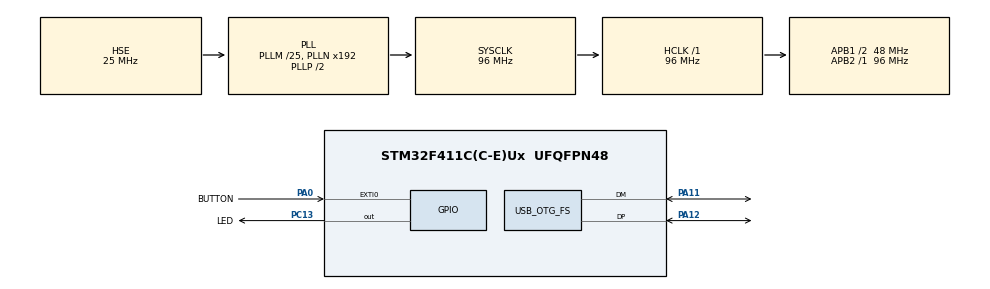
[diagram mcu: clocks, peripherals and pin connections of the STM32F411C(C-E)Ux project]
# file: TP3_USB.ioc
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Mcu.Family=STM32F4
Mcu.Name=STM32F411C(C-E)Ux
Mcu.Package=UFQFPN48
NVIC.EXTI0_IRQn=true\:0\:0\:false\:false\:true\:true\:true\:true
NVIC.OTG_FS_IRQn=true\:0\:0\:false\:false\:true\:false\:true\:true
NVIC.PriorityGroup=NVIC_PRIORITYGROUP_4
NVIC.TIM4_IRQn=true\:0\:0\:false\:false\:true\:true\:true\:true
PA0-WKUP.GPIO_Label=BUTTON
PA0-WKUP.GPIO_ModeDefaultEXTI=GPIO_MODE_IT_FALLING
PA0-WKUP.GPIO_PuPd=GPIO_PULLUP
PA0-WKUP.Signal=GPXTI0
PA11.Mode=Device_Only
PA11.Signal=USB_OTG_FS_DM
PA12.Mode=Device_Only
PA12.Signal=USB_OTG_FS_DP
PA13.Mode=Serial_Wire
PA13.Signal=SYS_JTMS-SWDIO
PA14.Mode=Serial_Wire
PA14.Signal=SYS_JTCK-SWCLK
PC13-ANTI_TAMP.GPIO_Label=LED
PC13-ANTI_TAMP.Signal=GPIO_Output
PC14-OSC32_IN.Mode=LSE-External-Oscillator
PC14-OSC32_IN.Signal=RCC_OSC32_IN
PC15-OSC32_OUT.Mode=LSE-External-Oscillator
PC15-OSC32_OUT.Signal=RCC_OSC32_OUT
PH0\ -\ OSC_IN.Mode=HSE-External-Oscillator
PH0\ -\ OSC_IN.Signal=RCC_OSC_IN
PH1\ -\ OSC_OUT.Mode=HSE-External-Oscillator
PH1\ -\ OSC_OUT.Signal=RCC_OSC_OUT
ProjectManager.TargetToolchain=STM32CubeIDE
RCC.48MHZClocksFreq_Value=48000000
RCC.AHBFreq_Value=96000000
RCC.APB1CLKDivider=RCC_HCLK_DIV2
RCC.APB1Freq_Value=48000000
RCC.APB1TimFreq_Value=96000000
RCC.APB2Freq_Value=96000000
RCC.APB2TimFreq_Value=96000000
RCC.CortexFreq_Value=96000000
RCC.HCLKFreq_Value=96000000
RCC.HSE_VALUE=25000000
RCC.HSI_VALUE=16000000
RCC.PLLM=25
RCC.SYSCLKFreq_VALUE=96000000
RCC.SYSCLKSource=RCC_SYSCLKSOURCE_PLLCLK
RCC.VCOOutputFreq_Value=192000000
TIM4.Period=4999
TIM4.Prescaler=9599
USB_DEVICE.CLASS_NAME_FS=CDC
USB_DEVICE.VirtualMode=Cdc
USB_DEVICE.VirtualModeFS=Cdc_FS
USB_OTG_FS.VirtualMode=Device_Only
VP_TIM4_VS_ClockSourceINT.Mode=Internal
VP_USB_DEVICE_VS_USB_DEVICE_CDC_FS.Mode=CDC_FS
board=custom

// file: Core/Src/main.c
/* USER CODE BEGIN Header */
/**
  ******************************************************************************
  * @file           : main.c
  * @brief          : TP3 - Interrupts & USB CDC Virtual COM Port (STM32F411CEUx)
  ******************************************************************************
  */
/* USER CODE END Header */
#include "main.h"
#include "usb_device.h"

/* USER CODE BEGIN Includes */
#include "usbd_cdc_if.h"
#include <stdbool.h>
#include <stdint.h>
#include <stdio.h>
#include <string.h>
/* USER CODE END Includes */

TIM_HandleTypeDef htim4;

/* USER CODE BEGIN PV */
#define RX_BUF_SIZE 128

static volatile uint8_t usb_rx_buf[RX_BUF_SIZE];
static volatile uint16_t usb_rx_head = 0;
static volatile uint16_t usb_rx_tail = 0;

static volatile bool button_event = false;
static volatile bool timer_event = false;
static bool blink_enabled = true;
/* USER CODE END PV */

void SystemClock_Config(void);
static void MX_GPIO_Init(void);
static void MX_TIM4_Init(void);

/* USER CODE BEGIN PFP */
static void usb_print(const char *s);
static void usb_println(const char *s);
static void handle_command(const char *cmd);
/* USER CODE END PFP */

/* USER CODE BEGIN 0 */
static void usb_print(const char *s)
{
    uint32_t start = HAL_GetTick();
    while (CDC_Transmit_FS((uint8_t *)s, (uint16_t)strlen(s)) == USBD_BUSY)
    {
        if ((HAL_GetTick() - start) > 100U)
        {
            break; // avoid blocking forever if host is not reading
        }
    }
}

static void usb_println(const char *s)
{
    usb_print(s);
    usb_print("\r\n");
}

/**
  * @brief  Hook called from CDC_Receive_FS() in usbd_cdc_if.c (USB RX interrupt).
  */
void USB_CDC_RxCallback(uint8_t *data, uint32_t len)
{
    for (uint32_t i = 0; i < len; i++)
    {
        uint16_t next = (uint16_t)((usb_rx_head + 1U) % RX_BUF_SIZE);
        if (next != usb_rx_tail) // leave one slot empty to distinguish full vs empty
        {
            usb_rx_buf[usb_rx_head] = data[i];
            usb_rx_head = next;
        }
    }
}

static void handle_command(const char *cmd)
{
    usb_print("Received: ");
    usb_println(cmd);

    if (strcmp(cmd, "LED ON") == 0)
    {
        blink_enabled = false;
        HAL_GPIO_WritePin(LED_GPIO_Port, LED_Pin, GPIO_PIN_RESET); // active low
        usb_println("OK: LED ON (blink paused)");
    }
    else if (strcmp(cmd, "LED OFF") == 0)
    {
        blink_enabled = false;
        HAL_GPIO_WritePin(LED_GPIO_Port, LED_Pin, GPIO_PIN_SET); // active low
        usb_println("OK: LED OFF (blink paused)");
    }
    else if (strcmp(cmd, "LED TOGGLE") == 0)
    {
        HAL_GPIO_TogglePin(LED_GPIO_Port, LED_Pin);
        usb_println("OK: LED TOGGLED");
    }
    else if (strcmp(cmd, "BLINK ON") == 0)
    {
        blink_enabled = true;
        usb_println("OK: BLINK ON (500ms)");
    }
    else if (strcmp(cmd, "BLINK OFF") == 0)
    {
        blink_enabled = false;
        usb_println("OK: BLINK OFF");
    }
    else if (strcmp(cmd, "STATUS") == 0)
    {
        GPIO_PinState pin = HAL_GPIO_ReadPin(LED_GPIO_Port, LED_Pin);
        usb_print("LED=");
        usb_print((pin == GPIO_PIN_RESET) ? "ON" : "OFF");
        usb_print(", BLINK=");
        usb_println(blink_enabled ? "ON" : "OFF");
    }
    else if (strcmp(cmd, "HELP") == 0)
    {
        usb_println("Commands: LED ON | LED OFF | LED TOGGLE | BLINK ON | BLINK OFF | STATUS | HELP");
    }
}
/* USER CODE END 0 */

int main(void)
{
    HAL_Init();
    SystemClock_Config();

    MX_GPIO_Init();
    MX_USB_DEVICE_Init();
    MX_TIM4_Init();

    /* USER CODE BEGIN 2 */
    HAL_TIM_Base_Start_IT(&htim4);
    /* USER CODE END 2 */

    /* USER CODE BEGIN WHILE */
    char buffer[64];
    uint16_t idx = 0;

    while (1)
    {
        /* USER CODE END WHILE */

        /* USER CODE BEGIN 3 */
        if (button_event)
        {
            button_event = false;
            HAL_GPIO_TogglePin(LED_GPIO_Port, LED_Pin);
            usb_println("Button pressed");
        }

        if (timer_event)
        {
            timer_event = false;
            if (blink_enabled)
            {
                HAL_GPIO_TogglePin(LED_GPIO_Port, LED_Pin);
            }
        }

        while (usb_rx_tail != usb_rx_head)
        {
            char c = (char)usb_rx_buf[usb_rx_tail];
            usb_rx_tail = (uint16_t)((usb_rx_tail + 1U) % RX_BUF_SIZE);

            if (c == '\r')
            {
                continue; // ignore CR in CRLF terminals
            }

            if (c == '\n')
            {
                if (idx > 0U)
                {
                    buffer[idx] = '\0';
                    handle_command(buffer);
                    idx = 0U;
                }
            }
            else if (idx < (sizeof(buffer) - 1U))
            {
                buffer[idx++] = c;
            }
        }
        /* USER CODE END 3 */
    }
}

void SystemClock_Config(void)
{
    RCC_OscInitTypeDef RCC_OscInitStruct = {0};
    RCC_ClkInitTypeDef RCC_ClkInitStruct = {0};

    __HAL_RCC_PWR_CLK_ENABLE();
    __HAL_PWR_VOLTAGESCALING_CONFIG(PWR_REGULATOR_VOLTAGE_SCALE1);

    RCC_OscInitStruct.OscillatorType = RCC_OSCILLATORTYPE_HSE;
    RCC_OscInitStruct.HSEState = RCC_HSE_ON;
    RCC_OscInitStruct.PLL.PLLState = RCC_PLL_ON;
    RCC_OscInitStruct.PLL.PLLSource = RCC_PLLSOURCE_HSE;
    RCC_OscInitStruct.PLL.PLLM = 25;
    RCC_OscInitStruct.PLL.PLLN = 192;
    RCC_OscInitStruct.PLL.PLLP = RCC_PLLP_DIV2; // 96 MHz SYSCLK
    RCC_OscInitStruct.PLL.PLLQ = 4;             // 48 MHz USB OTG FS
    if (HAL_RCC_OscConfig(&RCC_OscInitStruct) != HAL_OK)
    {
        Error_Handler();
    }

    RCC_ClkInitStruct.ClockType = RCC_CLOCKTYPE_HCLK | RCC_CLOCKTYPE_SYSCLK
                                  | RCC_CLOCKTYPE_PCLK1 | RCC_CLOCKTYPE_PCLK2;
    RCC_ClkInitStruct.SYSCLKSource = RCC_SYSCLKSOURCE_PLLCLK;
    RCC_ClkInitStruct.AHBCLKDivider = RCC_SYSCLK_DIV1;
    RCC_ClkInitStruct.APB1CLKDivider = RCC_HCLK_DIV2; // 48 MHz APB1, 96 MHz APB1 Timers
    RCC_ClkInitStruct.APB2CLKDivider = RCC_HCLK_DIV1;

    if (HAL_RCC_ClockConfig(&RCC_ClkInitStruct, FLASH_LATENCY_3) != HAL_OK)
    {
        Error_Handler();
    }
}

static void MX_TIM4_Init(void)
{
    TIM_ClockConfigTypeDef sClockSourceConfig = {0};
    TIM_MasterConfigTypeDef sMasterConfig = {0};

    htim4.Instance = TIM4;
    htim4.Init.Prescaler = 9599; // 96 MHz / 9600 = 10 kHz
    htim4.Init.CounterMode = TIM_COUNTERMODE_UP;
    htim4.Init.Period = 4999;    // 10 kHz / 5000 = 2 Hz (every 500 ms)
    htim4.Init.ClockDivision = TIM_CLOCKDIVISION_DIV1;
    htim4.Init.AutoReloadPreload = TIM_AUTORELOAD_PRELOAD_DISABLE;
    if (HAL_TIM_Base_Init(&htim4) != HAL_OK)
    {
        Error_Handler();
    }
    sClockSourceConfig.ClockSource = TIM_CLOCKSOURCE_INTERNAL;
    if (HAL_TIM_ConfigClockSource(&htim4, &sClockSourceConfig) != HAL_OK)
    {
        Error_Handler();
    }
    sMasterConfig.MasterOutputTrigger = TIM_TRGO_RESET;
    sMasterConfig.MasterSlaveMode = TIM_MASTERSLAVEMODE_DISABLE;
    if (HAL_TIMEx_MasterConfigSynchronization(&htim4, &sMasterConfig) != HAL_OK)
    {
        Error_Handler();
    }
}

static void MX_GPIO_Init(void)
{
    GPIO_InitTypeDef GPIO_InitStruct = {0};

    __HAL_RCC_GPIOC_CLK_ENABLE();
    __HAL_RCC_GPIOH_CLK_ENABLE();
    __HAL_RCC_GPIOA_CLK_ENABLE();

    HAL_GPIO_WritePin(LED_GPIO_Port, LED_Pin, GPIO_PIN_SET); // active low: start OFF

    GPIO_InitStruct.Pin = LED_Pin;
    GPIO_InitStruct.Mode = GPIO_MODE_OUTPUT_PP;
    GPIO_InitStruct.Pull = GPIO_NOPULL;
    GPIO_InitStruct.Speed = GPIO_SPEED_FREQ_LOW;
    HAL_GPIO_Init(LED_GPIO_Port, &GPIO_InitStruct);

    GPIO_InitStruct.Pin = BUTTON_Pin;
    GPIO_InitStruct.Mode = GPIO_MODE_IT_FALLING;
    GPIO_InitStruct.Pull = GPIO_PULLUP;
    HAL_GPIO_Init(BUTTON_GPIO_Port, &GPIO_InitStruct);

    HAL_NVIC_SetPriority(EXTI0_IRQn, 0, 0);
    HAL_NVIC_EnableIRQ(EXTI0_IRQn);
}

/* USER CODE BEGIN 4 */
void HAL_GPIO_EXTI_Callback(uint16_t GPIO_Pin)
{
    static uint32_t last_tick = 0;

    if (GPIO_Pin == BUTTON_Pin)
    {
        uint32_t now = HAL_GetTick();
        if ((now - last_tick) > 200U) // 200 ms debounce
        {
            button_event = true;
            last_tick = now;
        }
    }
}

void HAL_TIM_PeriodElapsedCallback(TIM_HandleTypeDef *htim)
{
    if (htim->Instance == TIM4)
    {
        timer_event = true;
    }
}
/* USER CODE END 4 */

void Error_Handler(void)
{
    __disable_irq();
    while (1)
    {
    }
}
